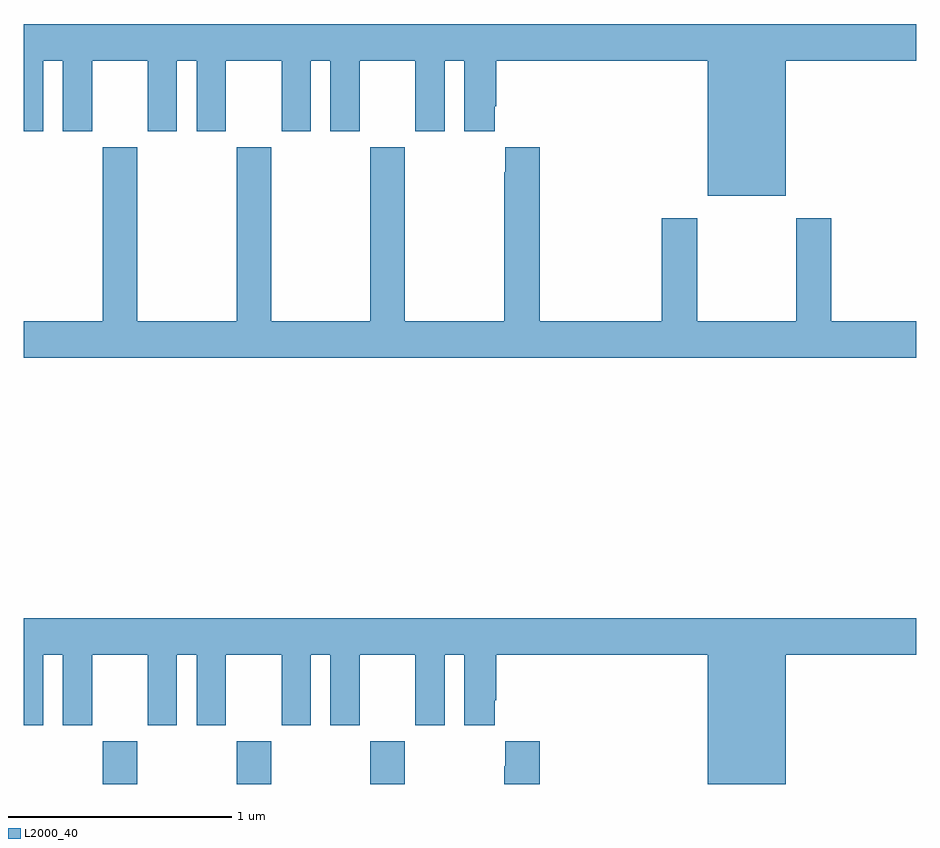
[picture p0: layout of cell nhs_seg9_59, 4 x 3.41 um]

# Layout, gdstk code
import gdstk
lib = gdstk.Library(unit=1e-6, precision=1e-09)
def R(c, l, rs):  # rectangles x0, y0, x1, y1
    for r in rs: c.add(gdstk.rectangle(r[:2], r[2:], *l))
def A(c, l, x, y, w, h, nx, ny, dx, dy):  # array of equal rectangles
    R(c, l, [(x+i*dx, y+j*dy, x+i*dx+w, y+j*dy+h) for i in range(nx) for j in range(ny)])
def P(c, l, *ps):  # polygons
    for p in ps: c.add(gdstk.Polygon(p, *l))
L2000_40 = (2000, 40)

nhs_seg9_59 = lib.new_cell('nhs_seg9_59')
A(nhs_seg9_59, L2000_40, 113.353, 1202.5, 0.155, 0.192, 3, 1, 0.6, 0)
P(nhs_seg9_59, L2000_40, [(116.416,1205.744),(117,1205.744),(117,1205.908),(113,1205.908),(113,1205.427),(113.086,1205.427),(113.086,1205.744),(113.174,1205.744),(113.174,1205.427),(113.305,1205.427),(113.305,1205.744),(113.555,1205.744),(113.555,1205.427),(113.686,1205.427),(113.686,1205.744),(113.774,1205.744),(113.774,1205.427),(113.905,1205.427),(113.905,1205.744),(114.155,1205.744),(114.155,1205.427),(114.286,1205.427),(114.286,1205.744),(114.374,1205.744),(114.374,1205.427),(114.505,1205.427),(114.505,1205.744),(114.755,1205.744),(114.755,1205.427),(114.886,1205.427),(114.886,1205.744),(114.974,1205.744),(114.974,1205.427),(115.111,1205.427),(115.111,1205.539),(115.118,1205.539),(115.118,1205.744),(116.066,1205.744),(116.066,1205.138),(116.416,1205.138)],
  [(117,1204.576),(116.619,1204.576),(116.619,1205.038),(116.464,1205.038),(116.464,1204.576),(116.019,1204.576),(116.019,1205.038),(115.859,1205.038),(115.859,1204.576),(115.313,1204.576),(115.313,1205.356),(115.157,1205.356),(115.157,1205.243),(115.153,1205.243),(115.153,1204.576),(114.708,1204.576),(114.708,1205.356),(114.553,1205.356),(114.553,1204.576),(114.108,1204.576),(114.108,1205.356),(113.953,1205.356),(113.953,1204.576),(113.508,1204.576),(113.508,1205.356),(113.353,1205.356),(113.353,1204.576),(113,1204.576),(113,1204.412),(117,1204.412)],
  [(116.416,1203.08),(117,1203.08),(117,1203.244),(113,1203.244),(113,1202.763),(113.086,1202.763),(113.086,1203.08),(113.174,1203.08),(113.174,1202.763),(113.305,1202.763),(113.305,1203.08),(113.555,1203.08),(113.555,1202.763),(113.686,1202.763),(113.686,1203.08),(113.774,1203.08),(113.774,1202.763),(113.905,1202.763),(113.905,1203.08),(114.155,1203.08),(114.155,1202.763),(114.286,1202.763),(114.286,1203.08),(114.374,1203.08),(114.374,1202.763),(114.505,1202.763),(114.505,1203.08),(114.755,1203.08),(114.755,1202.763),(114.886,1202.763),(114.886,1203.08),(114.974,1203.08),(114.974,1202.763),(115.111,1202.763),(115.111,1202.875),(115.118,1202.875),(115.118,1203.08),(116.066,1203.08),(116.066,1202.5),(116.416,1202.5)],
  [(115.313,1202.692),(115.157,1202.692),(115.157,1202.579),(115.153,1202.579),(115.153,1202.5),(115.313,1202.5)])

lib.write_gds('nhs_seg9_59.gds')
